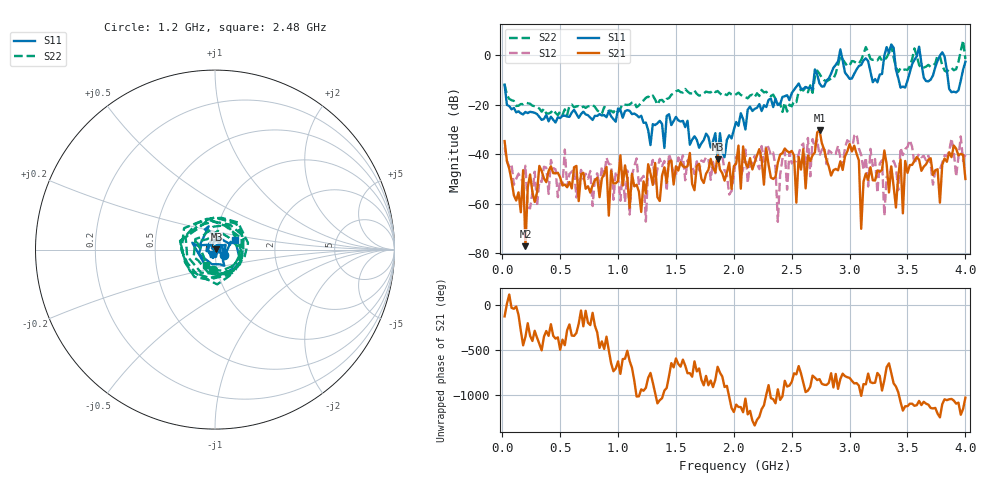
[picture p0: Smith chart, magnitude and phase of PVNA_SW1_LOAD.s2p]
! PocketVna 1.78  pocketvna.com
! Live measurements ((Reflection-S11, Transmission-S21, Transmission-S12, Reflection-S22) Linear 500000-4000000000/201 calibrated)
# Hz S RI R 50
! Hz  ReS11  ImS11  ReS21  ImS21  ReS12  ImS12  ReS22  ImS22
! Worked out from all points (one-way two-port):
!   200 points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, 20.5 MHz to 4 GHz, reference 50 ohm
!   highest |S21| = -30.21 dB at 2.74 GHz (marker M1); lowest = -77.1 dB at 200.5 MHz (marker M2)
!   lowest |S11| = -42.0 dB at 1.86 GHz (marker M3), VSWR 1.02, Z = 50.8 + j0.0902 ohm
!   |S11| at or under -10 dB: start of sweep to 2.69 GHz; 2.733 GHz to 2.804 GHz (71.56 MHz wide, 2.58 % of centre); 3.85 GHz to 3.961 GHz (110.6 MHz wide, 2.83 % of centre) (the widest 3 of 7)
!   |S22| runs from -24.2 to 6.0 dB; largest |S21 - S12| = 0.037
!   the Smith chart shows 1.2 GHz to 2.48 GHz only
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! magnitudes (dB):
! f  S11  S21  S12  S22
! 20.5 MHz  -11.8  -34.6  -37.2  -11.7
! 180.5 MHz  -23.8  -46.4  -51.4  -19.7
! 200.5 MHz  -22.9  -77.1  -44.6  -19.1
! 240.5 MHz  -22.8  -48.1  -61.8  -19.5
! 700.4 MHz  -22.8  -47.5  -50.0  -20.7
! 1.1 GHz  -22.4  -61.6  -64.3  -19.8
! 1.16 GHz  -24.1  -52.2  -41.6  -20.9
! 1.24 GHz  -27.1  -55.7  -67.2  -17.2
! 1.36 GHz  -26.4  -58.8  -41.8  -18.1
! 1.86 GHz  -42.0  -40.3  -41.2  -14.4
! 2.02 GHz  -26.9  -43.7  -40.9  -15.7
! 2.34 GHz  -20.9  -49.9  -39.2  -15.8
! 2.38 GHz  -20.1  -43.4  -67.2  -19.8
! 2.44 GHz  -16.5  -37.6  -38.7  -19.1
! 2.54 GHz  -12.7  -59.5  -42.8  -18.9
! 2.68 GHz  -13.9  -40.4  -33.8  -15.1
! 2.74 GHz  -11.4  -30.2  -40.6  -7.4
! 3.04 GHz  -7.4  -36.5  -32.4  -2.5
! 3.1 GHz  -3.8  -70.1  -40.2  -1.9
! 3.18 GHz  -6.5  -45.2  -37.8  -1.4
! 3.34 GHz  1.1  -55.4  -50.7  1.0
! 4 GHz  -2.6  -49.9  -40.0  -1.5
